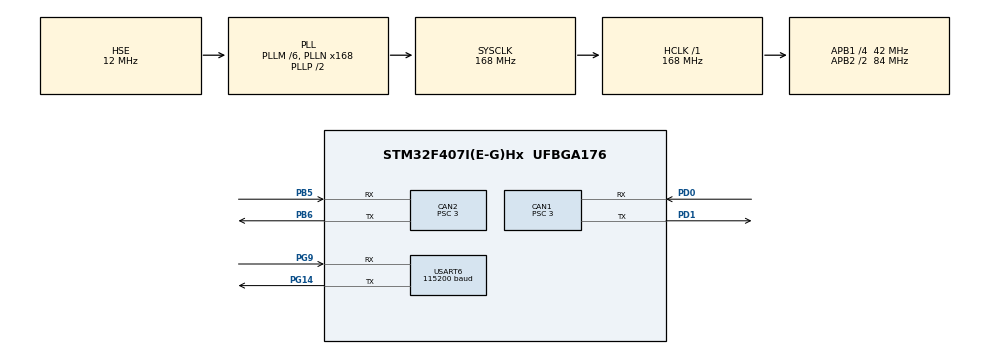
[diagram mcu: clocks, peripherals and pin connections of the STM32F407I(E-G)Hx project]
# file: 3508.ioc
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CAN1.ABOM=ENABLE
CAN1.BS1=CAN_BS1_9TQ
CAN1.BS2=CAN_BS2_4TQ
CAN1.CalculateBaudRate=1000000
CAN1.CalculateTimeBit=1000
CAN1.CalculateTimeQuantum=71.42857142857143
CAN1.Mode=CAN_MODE_NORMAL
CAN1.NART=ENABLE
CAN1.Prescaler=3
CAN2.ABOM=ENABLE
CAN2.BS1=CAN_BS1_9TQ
CAN2.BS2=CAN_BS2_4TQ
CAN2.CalculateBaudRate=1000000
CAN2.CalculateTimeBit=1000
CAN2.CalculateTimeQuantum=71.42857142857143
CAN2.Mode=CAN_MODE_NORMAL
CAN2.NART=ENABLE
CAN2.Prescaler=3
Mcu.Family=STM32F4
Mcu.Name=STM32F407I(E-G)Hx
Mcu.Package=UFBGA176
NVIC.CAN1_RX0_IRQn=true\:1\:0\:true\:false\:true\:true\:true\:true
NVIC.CAN2_RX0_IRQn=true\:1\:0\:true\:false\:true\:true\:true\:true
NVIC.PriorityGroup=NVIC_PRIORITYGROUP_4
NVIC.USART6_IRQn=true\:3\:0\:true\:false\:true\:true\:true\:true
PA13.Mode=Serial_Wire
PA13.Signal=SYS_JTMS-SWDIO
PA14.Mode=Serial_Wire
PA14.Signal=SYS_JTCK-SWCLK
PB5.Mode=CAN_Activate
PB5.Signal=CAN2_RX
PB6.Mode=CAN_Activate
PB6.Signal=CAN2_TX
PD0.Mode=CAN_Activate
PD0.Signal=CAN1_RX
PD1.Mode=CAN_Activate
PD1.Signal=CAN1_TX
PG14.Mode=Asynchronous
PG14.Signal=USART6_TX
PG9.Mode=Asynchronous
PG9.Signal=USART6_RX
PH0-OSC_IN.Mode=HSE-External-Oscillator
PH0-OSC_IN.Signal=RCC_OSC_IN
PH1-OSC_OUT.Mode=HSE-External-Oscillator
PH1-OSC_OUT.Signal=RCC_OSC_OUT
ProjectManager.HeapSize=0x200
ProjectManager.StackSize=0x400
ProjectManager.TargetToolchain=CMake
RCC.48MHZClocksFreq_Value=48000000
RCC.AHBFreq_Value=168000000
RCC.APB1CLKDivider=RCC_HCLK_DIV4
RCC.APB1Freq_Value=42000000
RCC.APB1TimFreq_Value=84000000
RCC.APB2CLKDivider=RCC_HCLK_DIV2
RCC.APB2Freq_Value=84000000
RCC.APB2TimFreq_Value=168000000
RCC.CortexFreq_Value=168000000
RCC.HCLKFreq_Value=168000000
RCC.HSE_VALUE=12000000
RCC.HSI_VALUE=16000000
RCC.LSE_VALUE=32768
RCC.PLLM=6
RCC.PLLN=168
RCC.PLLQ=7
RCC.PLLSourceVirtual=RCC_PLLSOURCE_HSE
RCC.SYSCLKFreq_VALUE=168000000
RCC.SYSCLKSource=RCC_SYSCLKSOURCE_PLLCLK
RCC.VCOOutputFreq_Value=336000000
USART6.BaudRate=115200
USART6.VirtualMode=VM_ASYNC
board=custom

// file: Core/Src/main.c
/* USER CODE BEGIN Header */
/**
  ******************************************************************************
  * @file           : main.c
  * @brief          : Main program body
  ******************************************************************************
  * @attention
  *
  * Copyright (c) 2026 STMicroelectronics.
  * All rights reserved.
  *
  * This software is licensed under terms that can be found in the LICENSE file
  * in the root directory of this software component.
  * If no LICENSE file comes with this software, it is provided AS-IS.
  *
  ******************************************************************************
  */
/* USER CODE END Header */
#include "main.h"

/* USER CODE BEGIN Includes */
#include "dji_motor_manager.h"
#include "dji_m3508.h"
#include "dji_m2006.h"
#include "dji_gm6020.h"
#include "motor_control.h"
/* USER CODE END Includes */

/* USER CODE BEGIN PD */
/* 主循环每1ms更新一次轴控制并发送CAN电流。 */
#define MOTOR_CONTROL_PERIOD_MS 1U
/* 单电机（ID=7）速度闭环测试。 */
#define M3508_TEST_SPEED_RPM  1000
#define GM6020_TEST_SPEED_RPM  50
#define M2006_TEST_SPEED_RPM   100

#define M3508_TEST_CURRENT_LIMIT 4000.0f
#define GM6020_TEST_CURRENT_LIMIT 1000.0f
#define M2006_TEST_CURRENT_LIMIT 2000.0f

/* 速度环/位置环PID参数，与motor_control.c默认值保持一致。 */
#define M3508_SPEED_PID_KP  3.0f
#define M3508_SPEED_PID_KI  0.02f
#define M3508_SPEED_PID_KD  0.0f
#define M3508_POS_PID_KP   15.0f
#define M3508_POS_PID_KI    0.0f
#define M3508_POS_PID_KD    0.0f
/* USER CODE END PD */

CAN_HandleTypeDef hcan1;
CAN_HandleTypeDef hcan2;

UART_HandleTypeDef huart6;

/* USER CODE BEGIN PV */
static DJI_MotorManager_t dji_motor_manager_can1;
static DJI_MotorManager_t dji_motor_manager_can2;
static DJI_Motor_t m3508_motors[4];
static DJI_Motor_t gm6020_motors[2];
static DJI_Motor_t m2006_motors[2];

static volatile HAL_StatusTypeDef motor_tx_status_can1 = HAL_OK;
static volatile HAL_StatusTypeDef motor_tx_status_can2 = HAL_OK;

static uint32_t last_motor_control_tick = 0U;

/* USER CODE END PV */

void SystemClock_Config(void);
static void MX_GPIO_Init(void);
static void MX_CAN1_Init(void);
static void MX_USART6_UART_Init(void);
static void MX_CAN2_Init(void);

int main(void)
{

  /* MCU Configuration--------------------------------------------------------*/

  /* Reset of all peripherals, Initializes the Flash interface and the Systick. */
  HAL_Init();

  /* Configure the system clock */
  SystemClock_Config();

  /* Initialize all configured peripherals */
  MX_GPIO_Init();
  MX_CAN1_Init();
  MX_USART6_UART_Init();
  MX_CAN2_Init();
  /* USER CODE BEGIN 2 */
  if (DJI_MotorManager_Init(&dji_motor_manager_can1,&hcan1) != HAL_OK)
  {
    Error_Handler();
  }

  /* ID=7的M3508：0x1FF帧控制电机5~8，ID7对应槽位7-5=2。 */
  if (DJI_M3508_Register(&dji_motor_manager_can1, &m3508_motors[0],
                         7U, 0x1FFU, 2U) != HAL_OK)
  {
    Error_Handler();
  }

  /* 启动CAN1接收：配置过滤器并开启FIFO0中断，电机反馈才能更新。 */
  if (DJI_MotorManager_Start(&dji_motor_manager_can1) != HAL_OK)
  {
    Error_Handler();
  }

  /* 初始化速度闭环：电流命令限幅±6000，电机方向为正。 */
  if (MotorControl_Init(&m3508_motors[0], 6000,
                        1,
                        M3508_SPEED_PID_KP, M3508_SPEED_PID_KI, M3508_SPEED_PID_KD,
                        M3508_POS_PID_KP, M3508_POS_PID_KI, M3508_POS_PID_KD) != HAL_OK)
  {
    Error_Handler();
  }

  /* 切换到速度闭环模式，并给定目标转速。 */
  MotorControl_SetMode(&m3508_motors[0], MOTOR_MODE_SPEED);
  MotorControl_SetTargetSpeed(&m3508_motors[0], -500);
  /* USER CODE END 2 */

  /* Infinite loop*/
  /* USER CODE BEGIN WHILE */
  while (1)
  {
    const uint32_t now_tick = HAL_GetTick();

    if ((now_tick - last_motor_control_tick) >= MOTOR_CONTROL_PERIOD_MS)
    {
      last_motor_control_tick = now_tick;
      MotorControl_Update(&m3508_motors[0], now_tick);

      motor_tx_status_can1 = DJI_MotorManager_SendAll(&dji_motor_manager_can1);
    }

    /* USER CODE END WHILE */

  }
}

void SystemClock_Config(void)
{
  RCC_OscInitTypeDef RCC_OscInitStruct = {0};
  RCC_ClkInitTypeDef RCC_ClkInitStruct = {0};

  /** Configure the main internal regulator output voltage
  */
  __HAL_RCC_PWR_CLK_ENABLE();
  __HAL_PWR_VOLTAGESCALING_CONFIG(PWR_REGULATOR_VOLTAGE_SCALE1);

  /** Initializes the RCC Oscillators according to the specified parameters
  * in the RCC_OscInitTypeDef structure.
  */
  RCC_OscInitStruct.OscillatorType = RCC_OSCILLATORTYPE_HSE;
  RCC_OscInitStruct.HSEState = RCC_HSE_ON;
  RCC_OscInitStruct.PLL.PLLState = RCC_PLL_ON;
  RCC_OscInitStruct.PLL.PLLSource = RCC_PLLSOURCE_HSE;
  RCC_OscInitStruct.PLL.PLLM = 6;
  RCC_OscInitStruct.PLL.PLLN = 168;
  RCC_OscInitStruct.PLL.PLLP = RCC_PLLP_DIV2;
  RCC_OscInitStruct.PLL.PLLQ = 7;
  if (HAL_RCC_OscConfig(&RCC_OscInitStruct) != HAL_OK)
  {
    Error_Handler();
  }

  /** Initializes the CPU, AHB and APB buses clocks
  */
  RCC_ClkInitStruct.ClockType = RCC_CLOCKTYPE_HCLK|RCC_CLOCKTYPE_SYSCLK
                              |RCC_CLOCKTYPE_PCLK1|RCC_CLOCKTYPE_PCLK2;
  RCC_ClkInitStruct.SYSCLKSource = RCC_SYSCLKSOURCE_PLLCLK;
  RCC_ClkInitStruct.AHBCLKDivider = RCC_SYSCLK_DIV1;
  RCC_ClkInitStruct.APB1CLKDivider = RCC_HCLK_DIV4;
  RCC_ClkInitStruct.APB2CLKDivider = RCC_HCLK_DIV2;

  if (HAL_RCC_ClockConfig(&RCC_ClkInitStruct, FLASH_LATENCY_5) != HAL_OK)
  {
    Error_Handler();
  }
}

static void MX_CAN1_Init(void)
{

  hcan1.Instance = CAN1;
  hcan1.Init.Prescaler = 3;
  hcan1.Init.Mode = CAN_MODE_NORMAL;
  hcan1.Init.SyncJumpWidth = CAN_SJW_1TQ;
  hcan1.Init.TimeSeg1 = CAN_BS1_9TQ;
  hcan1.Init.TimeSeg2 = CAN_BS2_4TQ;
  hcan1.Init.TimeTriggeredMode = DISABLE;
  hcan1.Init.AutoBusOff = ENABLE;
  hcan1.Init.AutoWakeUp = DISABLE;
  hcan1.Init.AutoRetransmission = ENABLE;
  hcan1.Init.ReceiveFifoLocked = DISABLE;
  hcan1.Init.TransmitFifoPriority = DISABLE;
  if (HAL_CAN_Init(&hcan1) != HAL_OK)
  {
    Error_Handler();
  }

}

static void MX_CAN2_Init(void)
{

  hcan2.Instance = CAN2;
  hcan2.Init.Prescaler = 3;
  hcan2.Init.Mode = CAN_MODE_NORMAL;
  hcan2.Init.SyncJumpWidth = CAN_SJW_1TQ;
  hcan2.Init.TimeSeg1 = CAN_BS1_9TQ;
  hcan2.Init.TimeSeg2 = CAN_BS2_4TQ;
  hcan2.Init.TimeTriggeredMode = DISABLE;
  hcan2.Init.AutoBusOff = ENABLE;
  hcan2.Init.AutoWakeUp = DISABLE;
  hcan2.Init.AutoRetransmission = ENABLE;
  hcan2.Init.ReceiveFifoLocked = DISABLE;
  hcan2.Init.TransmitFifoPriority = DISABLE;
  if (HAL_CAN_Init(&hcan2) != HAL_OK)
  {
    Error_Handler();
  }

}

static void MX_USART6_UART_Init(void)
{

  huart6.Instance = USART6;
  huart6.Init.BaudRate = 115200;
  huart6.Init.WordLength = UART_WORDLENGTH_8B;
  huart6.Init.StopBits = UART_STOPBITS_1;
  huart6.Init.Parity = UART_PARITY_NONE;
  huart6.Init.Mode = UART_MODE_TX_RX;
  huart6.Init.HwFlowCtl = UART_HWCONTROL_NONE;
  huart6.Init.OverSampling = UART_OVERSAMPLING_16;
  if (HAL_UART_Init(&huart6) != HAL_OK)
  {
    Error_Handler();
  }

}

static void MX_GPIO_Init(void)
{

  /* GPIO Ports Clock Enable */
  __HAL_RCC_GPIOB_CLK_ENABLE();
  __HAL_RCC_GPIOG_CLK_ENABLE();
  __HAL_RCC_GPIOA_CLK_ENABLE();
  __HAL_RCC_GPIOD_CLK_ENABLE();
  __HAL_RCC_GPIOH_CLK_ENABLE();

}

/* USER CODE BEGIN 4 */
/* HAL收到FIFO0消息后，把处理工作转交给M3508管理器。 */
void HAL_CAN_RxFifo0MsgPendingCallback(CAN_HandleTypeDef *hcan)
{
  if (hcan->Instance == CAN1)
  {
    DJI_MotorManager_RxFifo0Callback(&dji_motor_manager_can1, hcan);
  }
  else if (hcan->Instance == CAN2)
  {
    DJI_MotorManager_RxFifo0Callback(&dji_motor_manager_can2, hcan);
  }
}

/**
  * @brief USART6 Initialization Function
  * @param None
  * @retval None
  */

/* USER CODE END 4 */

void Error_Handler(void)
{
  __disable_irq();
  while (1)
  {
  }
}
